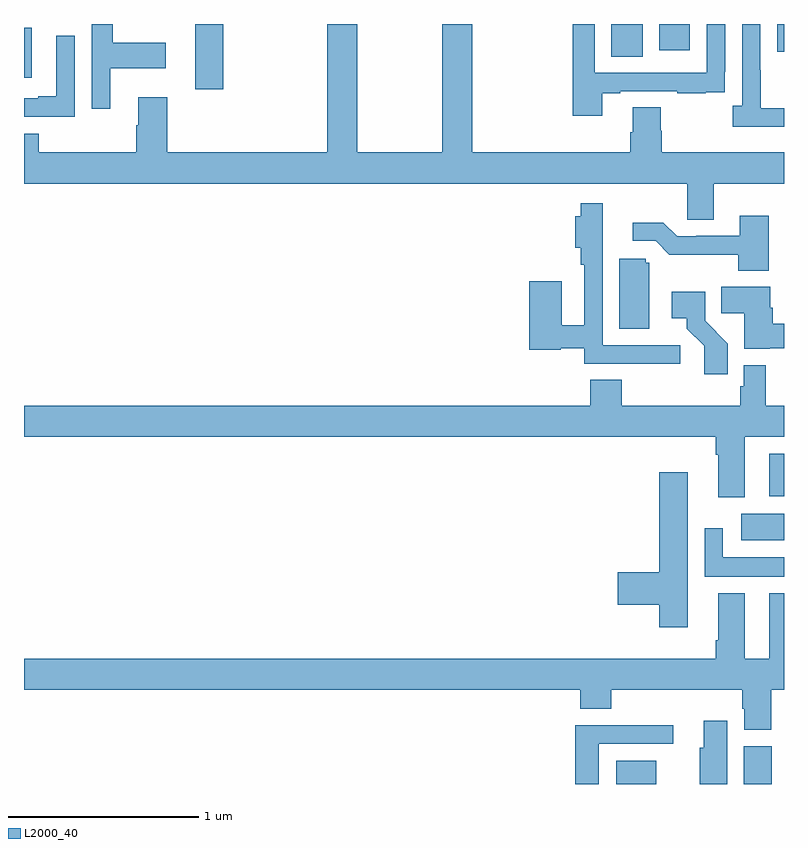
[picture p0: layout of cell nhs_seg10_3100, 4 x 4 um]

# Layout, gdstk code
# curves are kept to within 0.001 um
import gdstk
lib = gdstk.Library(unit=1e-6, precision=1e-09)
def R(c, l, rs):  # rectangles x0, y0, x1, y1
    for r in rs: c.add(gdstk.rectangle(r[:2], r[2:], *l))
def P(c, l, *ps):  # polygons
    for p in ps: c.add(gdstk.Polygon(p, *l))
L2000_40 = (2000, 40)

nhs_seg10_3100 = lib.new_cell('nhs_seg10_3100')
R(nhs_seg10_3100, L2000_40, [(282.116,1286.5,282.328,1286.623), (282.788,1286.5,282.935,1286.7), (282.774,1287.782,283,1287.922), (282.923,1288.014,283,1288.239), (279.902,1290.156,280.049,1290.5), (279,1290.218,279.04,1290.481), (282.092,1290.328,282.256,1290.5), (282.965,1290.353,283,1290.5), (282.344,1290.363,282.505,1290.5)])
P(nhs_seg10_3100, L2000_40, [(280.595,1290.5),(280.595,1289.824),(279.755,1289.824),(279.755,1290.115),(279.602,1290.115),(279.602,1289.966),(279.59,1289.966),(279.59,1289.824),(279.077,1289.824),(279.077,1289.922),(279,1289.922),(279,1289.66),(282.492,1289.66),(282.492,1289.47),(282.631,1289.47),(282.631,1289.66),(283,1289.66),(283,1289.824),(282.356,1289.824),(282.356,1289.937),(282.351,1289.937),(282.351,1290.062),(282.203,1290.062),(282.203,1289.93),(282.191,1289.93),(282.191,1289.824),(281.36,1289.824),(281.36,1290.5),(281.2,1290.5),(281.2,1289.824),(280.755,1289.824),(280.755,1290.5)],
  [(279.454,1290.266),(279.745,1290.266),(279.745,1290.401),(279.466,1290.401),(279.466,1290.5),(279.357,1290.5),(279.357,1290.054),(279.454,1290.054)],
  [(283,1290.057),(282.877,1290.057),(282.877,1290.257),(282.876,1290.257),(282.876,1290.5),(282.78,1290.5),(282.78,1290.07),(282.729,1290.07),(282.729,1289.96),(283,1289.96)],
  [(282.043,1290.135),(282.139,1290.135),(282.139,1290.147),(282.439,1290.147),(282.439,1290.135),(282.587,1290.135),(282.587,1290.141),(282.689,1290.141),(282.689,1290.25),(282.69,1290.25),(282.69,1290.5),(282.594,1290.5),(282.594,1290.243),(282.003,1290.243),(282.003,1290.5),(281.887,1290.5),(281.887,1290.018),(282.043,1290.018)],
  [(279.267,1290.439),(279.17,1290.439),(279.17,1290.121),(279.074,1290.121),(279.074,1290.108),(279,1290.108),(279,1290.012),(279.267,1290.012)],
  [(282.454,1288.809),(282.045,1288.809),(282.045,1289.334),(282.046,1289.334),(282.046,1289.557),(281.929,1289.557),(281.929,1289.488),(281.9,1289.488),(281.9,1289.323),(281.929,1289.323),(281.929,1289.234),(281.949,1289.234),(281.949,1288.915),(281.83,1288.915),(281.83,1289.146),(281.66,1289.146),(281.66,1288.786),(281.826,1288.786),(281.826,1288.794),(281.949,1288.794),(281.949,1288.713),(282.229,1288.713),(282.229,1288.711),(282.454,1288.711)],
  [(282.92,1289.491),(282.767,1289.491),(282.767,1289.385),(282.538,1289.385),(282.538,1289.382),(282.438,1289.382),(282.365,1289.455),(282.204,1289.455),(282.204,1289.358),(282.324,1289.358),(282.397,1289.285),(282.76,1289.286),(282.76,1289.201),(282.92,1289.201)],
  [(282.292,1289.244),(282.273,1289.244),(282.273,1289.265),(282.134,1289.265),(282.134,1288.896),(282.292,1288.896)],
  [(282.924,1288.794),(283,1288.794),(283,1288.922),(282.941,1288.922),(282.941,1289.006),(282.928,1289.006),(282.928,1289.116),(282.67,1289.116),(282.67,1288.978),(282.791,1288.978),(282.791,1288.79),(282.924,1288.79)],
  [(282.704,1288.818),(282.585,1288.937),(282.585,1289.092),(282.408,1289.092),(282.408,1288.952),(282.488,1288.952),(282.488,1288.897),(282.579,1288.807),(282.579,1288.656),(282.704,1288.656)],
  [(282.793,1288.328),(283,1288.328),(283,1288.492),(282.905,1288.492),(282.905,1288.705),(282.789,1288.705),(282.789,1288.593),(282.769,1288.593),(282.769,1288.492),(282.146,1288.492),(282.146,1288.628),(281.981,1288.628),(281.981,1288.492),(279,1288.492),(279,1288.328),(282.641,1288.328),(282.641,1288.232),(282.653,1288.232),(282.653,1288.008),(282.793,1288.008)],
  [(282.493,1288.141),(282.344,1288.141),(282.344,1287.614),(282.126,1287.614),(282.126,1287.443),(282.344,1287.443),(282.344,1287.324),(282.493,1287.324)],
  [(283,1287.694),(282.678,1287.694),(282.678,1287.847),(282.582,1287.847),(282.582,1287.59),(283,1287.59)],
  [(282.932,1286.996),(283,1286.996),(283,1287.505),(282.923,1287.505),(282.923,1287.16),(282.793,1287.16),(282.793,1287.505),(282.653,1287.505),(282.653,1287.256),(282.641,1287.256),(282.641,1287.16),(279,1287.16),(279,1286.996),(281.927,1286.996),(281.927,1286.897),(282.092,1286.897),(282.092,1286.996),(282.779,1286.996),(282.779,1286.895),(282.791,1286.895),(282.791,1286.785),(282.932,1286.785)],
  [(282.7,1286.833),(282.578,1286.833),(282.578,1286.691),(282.557,1286.691),(282.557,1286.5),(282.7,1286.5)],
  [(282.025,1286.712),(282.418,1286.712),(282.418,1286.81),(281.9,1286.81),(281.9,1286.5),(282.025,1286.5)])

lib.write_gds('nhs_seg10_3100.gds')
